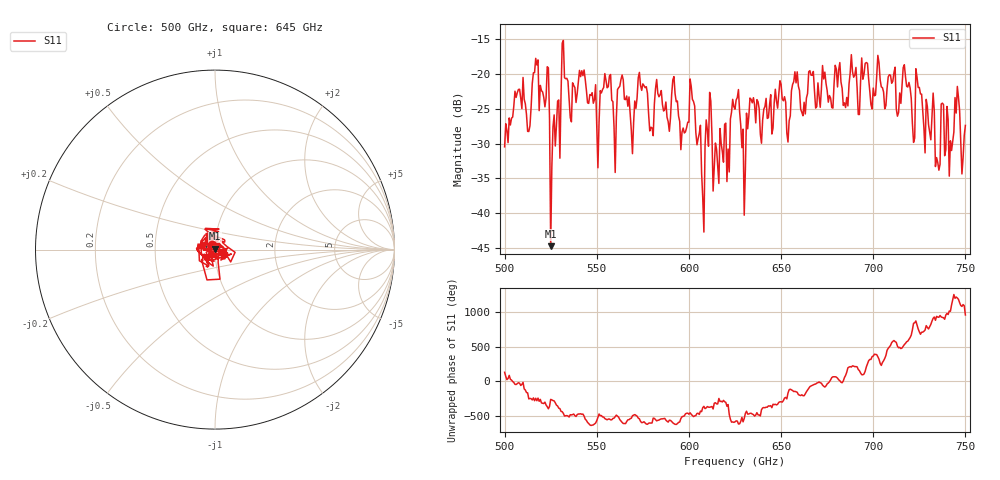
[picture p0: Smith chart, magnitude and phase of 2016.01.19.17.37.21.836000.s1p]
!Created with skrf (http://scikit-rf.org).
# GHz S RI R 50.0
!freq ReS11 ImS11
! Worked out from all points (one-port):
!   401 points, 500 GHz to 750 GHz, reference 50 ohm
!   lowest |S11| = -44.8 dB at 525 GHz (marker M1), VSWR 1.01, Z = 49.9 + j0.572 ohm
!   |S11| at or under -10 dB: start of sweep to end of sweep
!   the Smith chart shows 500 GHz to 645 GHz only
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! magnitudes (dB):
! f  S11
! 500 GHz  -30.5
! 506.9 GHz  -22.7
! 513.1 GHz  -28.3
! 516.9 GHz  -17.7
! 523.1 GHz  -18.9
! 525 GHz  -44.8
! 531.2 GHz  -15.5
! 550 GHz  -27.6
! 556.2 GHz  -21.8
! 559.4 GHz  -27.6
! 562.5 GHz  -21.8
! 569.4 GHz  -31.5
! 573.8 GHz  -21.6
! 579.4 GHz  -27.6
! 593.8 GHz  -23.9
! 601.9 GHz  -23.6
! 607.5 GHz  -37.8
! 610.6 GHz  -30.4
! 614.4 GHz  -29.9
! 625 GHz  -25.1
! 629.4 GHz  -27.9
! 634.4 GHz  -24.1
! 656.2 GHz  -21.5
! 687.5 GHz  -19.8
! 718.8 GHz  -21.9
! 735 GHz  -32.7
! 745.6 GHz  -21.8
! 750 GHz  -27.4
